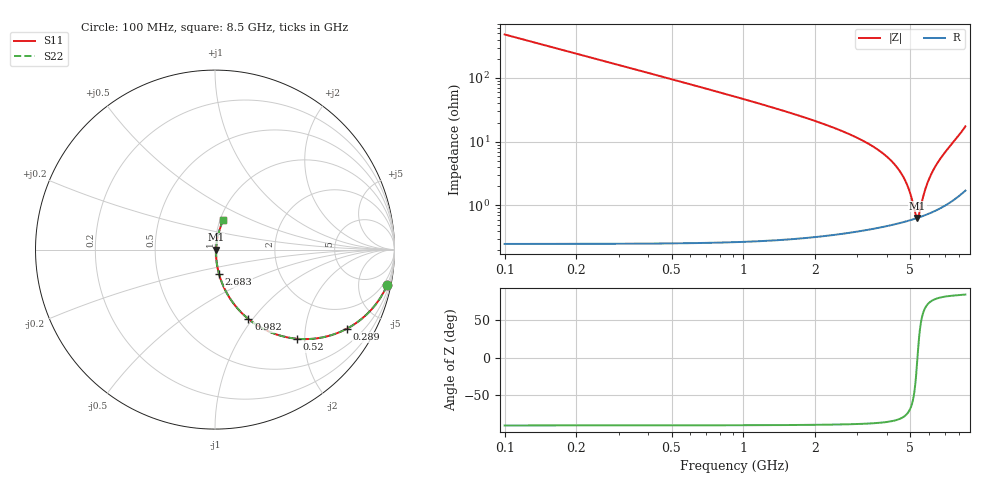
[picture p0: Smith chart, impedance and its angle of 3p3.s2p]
!Murata Part Number: GRM0335C1E3R3CA01
!These Parameters are Measured in Series Mode Connection
!  o--ll--o
!Port1  Port2
!  o------o
!Operation Temp=25[degC], DC Bias Voltage=0[V]
!Freq. Start=100[MHz] Stop=8.5[GHz], 401[Steps]
!Data Generated on Jan 10, 2018
# Hz S RI R 50
!Freq.(Hz) S11(Real) S11(Imag) S21(Real) S21(Imag) S12(Real) S12(Imag) S22(Real) S22(Imag)
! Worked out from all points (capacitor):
!   401 points, 100 MHz to 8.5 GHz, reference 50 ohm
!   read as one part in series: C = 3.3 pF near 142 MHz
!   lowest |Z| = 635 mohm at 5.35 GHz (marker M1)
!   series resonance near 5.354 GHz, so ESL is about 270 pH
!   S11 on the Smith chart (normalised r, x): 100 MHz: 1.00, -9.64; 289 MHz: 1.00, -3.33; 520 MHz: 1.01, -1.84; 982 MHz: 1.01, -0.95; 2.683 GHz: 1.01, -0.28; 8.5 GHz: 1.03, +0.35
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1e8  0.9587 -0.1988  0.0413 0.1988  0.0413 0.1988  0.9587 -0.1988
2.05e8  0.8464 -0.3601  0.1536 0.3601  0.1536 0.3601  0.8464 -0.3601
2.89e8  0.7345 -0.4409  0.2655 0.4409  0.2655 0.4409  0.7345 -0.4409
3.94e8  0.5972 -0.4894  0.4028 0.4894  0.4028 0.4894  0.5972 -0.4894
5.2e8  0.4583 -0.4969  0.5417 0.4969  0.5417 0.4969  0.4583 -0.4969
7.3e8  0.2976 -0.4552  0.7024 0.4552  0.7024 0.4552  0.2976 -0.4552
9.82e8  0.1863 -0.3866  0.8137 0.3866  0.8137 0.3866  0.1863 -0.3866
1.507e9  0.0834 -0.2717  0.9166 0.2717  0.9166 0.2717  0.0834 -0.2717
2.683e9  0.0223 -0.1352  0.9777 0.1352  0.9777 0.1352  0.0223 -0.1352
2.914e9  0.018 -0.1182  0.982 0.1182  0.982 0.1182  0.018 -0.1182
3.733e9  0.0094 -0.0698  0.9906 0.0698  0.9906 0.0698  0.0094 -0.0698
4.3e9  0.00689 -0.043  0.9931 0.043  0.9931 0.043  0.00689 -0.043
4.825e9  0.00605 -0.0209  0.994 0.0209  0.994 0.0209  0.00605 -0.0209
5.035e9  0.00603 -0.0125  0.994 0.0125  0.994 0.0125  0.00603 -0.0125
5.266e9  0.0062 -0.00341  0.9938 0.00341  0.9938 0.00341  0.0062 -0.00341
5.35e9  0.00631 -0.000148  0.9937 0.000148  0.9937 0.000148  0.00631 -0.000148
5.434e9  0.00645 0.00311  0.9936 -0.00311  0.9936 -0.00311  0.00645 0.00311
5.707e9  0.00707 0.0136  0.9929 -0.0136  0.9929 -0.0136  0.00707 0.0136
5.938e9  0.0078 0.0226  0.9922 -0.0226  0.9922 -0.0226  0.0078 0.0226
6.253e9  0.00916 0.035  0.9908 -0.035  0.9908 -0.035  0.00916 0.035
7.114e9  0.0155 0.0718  0.9845 -0.0718  0.9845 -0.0718  0.0155 0.0718
8.5e9  0.0445 0.1628  0.9555 -0.1628  0.9555 -0.1628  0.0445 0.1628
